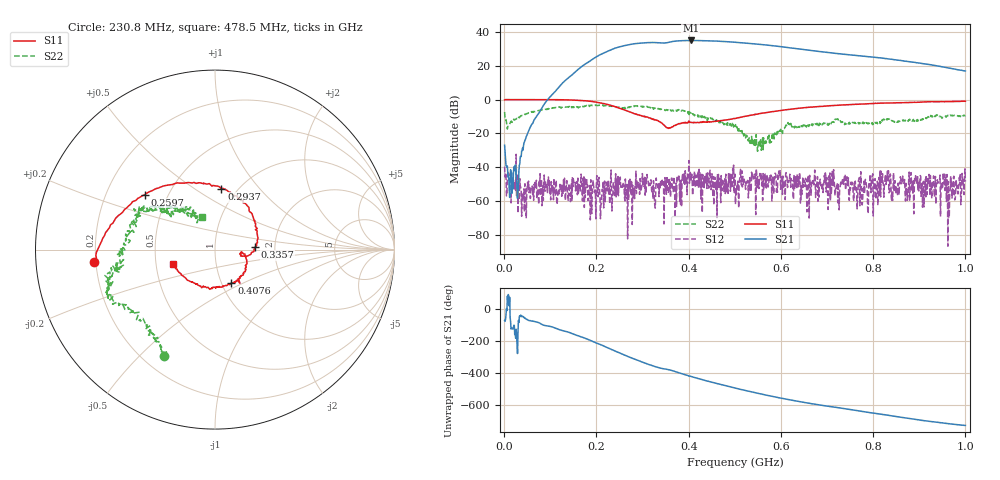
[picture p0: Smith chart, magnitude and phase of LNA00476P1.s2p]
! Created with skrf 1.9.0 (http://scikit-rf.org).
# Hz S RI R 50.0
!freq ReS11 ImS11 ReS21 ImS21 ReS12 ImS12 ReS22 ImS22
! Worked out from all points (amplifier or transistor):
!   1001 points, 1 MHz to 1 GHz, reference 50 ohm
!   highest |S21| = 35.1 dB at 404.6 MHz (marker M1)
!   |S21| within 3 dB of that: 262.6 MHz to 578.7 MHz (316.1 MHz wide, 75.2 % of centre)
!   unconditionally stable (mu >= 1): 232.3 MHz to 285.5 MHz; 299.8 MHz to 400.1 MHz; 400.9 MHz to end of sweep (the widest 3 of 40)
!   at 166.8 MHz: K = 1.24, MAG = 28.8 dB, |S12| = -44.2 dB
!   at 500.5 MHz: K = 1.64, MAG = 34.5 dB, |S12| = -44.3 dB
!   at 1 GHz: K = 3.08, MAG = 25.0 dB, |S12| = -48.5 dB
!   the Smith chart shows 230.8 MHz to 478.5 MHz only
!   S11 on the Smith chart (normalised r, x): 230.8 MHz: 0.19, -0.05; 259.7 MHz: 0.37, +0.30; 293.7 MHz: 0.85, +0.65; 335.7 MHz: 1.58, +0.05; 407.6 MHz: 1.11, -0.43; 478.5 MHz: 0.61, -0.11
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1000000  0.9853 0.00577  0.0145 -0.0421  -0.00982 -0.003  0.314 0.2938
1.09891e8  0.5251 -0.8507  -0.7957 -1.511  -4.2e-05 0.00171  0.4439 -0.376
1.67833e8  -0.2031 -0.9159  -9.452 -0.8876  0.0027 0.00101  0.0257 -0.639
2.06794e8  -0.6494 -0.4745  -16.07 13.58  0.00138 -0.00139  -0.1795 -0.6535
2.3077e8  -0.6752 -0.0713  -9.609 27.94  -0.00311 -0.00255  -0.2862 -0.5928
2.59741e8  -0.392 0.3061  11.74 37.57  -0.00156 -0.00239  -0.4231 -0.3935
2.93707e8  0.0362 0.338  39.01 26.02  -0.000258 -0.00154  -0.5986 -0.2283
3.13687e8  0.1907 0.213  47.83 9.959  -0.00207 -0.00173  -0.5763 -0.1505
3.34666e8  0.2323 0.0228  47.99 -6.405  -0.00216 0.00233  -0.5282 -0.0331
3.35665e8  0.2242 0.0145  47.61 -7.341  -0.00119 -0.000614  -0.5306 -0.0309
3.71629e8  0.17 -0.041  45.43 -29.6  0.00114 8.35e-05  -0.4228 0.1949
4.04596e8  0.1147 -0.177  25.6 -50.57  -0.00243 0.00345  -0.3332 0.2247
4.07593e8  0.0917 -0.1868  23.56 -51.22  0.0026 0.00324  -0.3085 0.2161
4.41559e8  -0.0804 -0.2022  -2.867 -55.53  0.00394 0.00415  -0.187 0.2179
4.78522e8  -0.2331 -0.0813  -26.96 -45.16  0.00425 0.00144  -0.0738 0.1794
5.005e8  -0.2728 0.0339  -36.42 -34.92  0.00337 -0.00511  -0.0965 0.1343
5.63437e8  -0.191 0.3549  -42.02 -2.029  0.00354 -0.00167  -0.049 -0.00163
6.11389e8  0.017 0.5001  -31.85 15.32  0.00614 -0.00305  -0.1718 -0.0419
6.67333e8  0.2844 0.5313  -16.19 23.12  -0.000248 -0.00397  -0.1885 -0.0201
7.55245e8  0.6101 0.3803  1.229 20.83  -0.00345 -0.000696  -0.2084 0.0376
8.34166e8  0.7788 0.1559  9.907 12.57  -0.00149 0.000917  -0.2629 0.022
1e9  0.8118 -0.3768  6.91 -1.396  -0.00368 0.000783  -0.2846 0.1863
